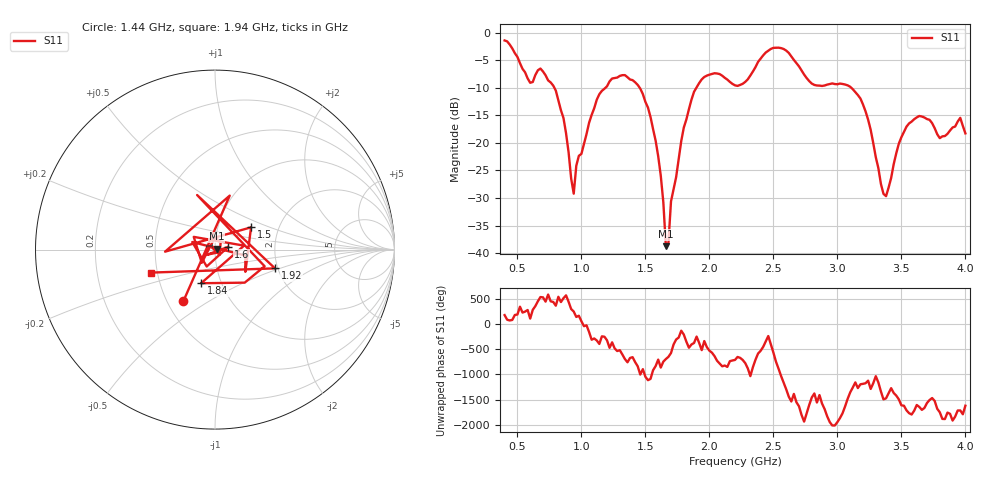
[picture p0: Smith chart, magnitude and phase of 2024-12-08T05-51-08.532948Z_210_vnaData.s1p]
!Created with skrf (http://scikit-rf.org).
# Hz S RI R 50.0
!freq ReS11 ImS11
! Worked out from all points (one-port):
!   181 points, 400 MHz to 4 GHz, reference 50 ohm
!   lowest |S11| = -38.8 dB at 1.66 GHz (marker M1), VSWR 1.02, Z = 51.1 + j0.459 ohm
!   |S11| at or under -10 dB: 789.3 MHz to 1.187 GHz (397.2 MHz wide, 40.2 % of centre); 1.456 GHz to 1.897 GHz (441.1 MHz wide, 26.3 % of centre); 3.11 GHz to end of sweep
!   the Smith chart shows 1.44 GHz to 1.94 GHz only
!   S11 on the Smith chart (normalised r, x): 1.44 GHz: 0.60, -0.39; 1.5 GHz: 1.44, +0.38; 1.6 GHz: 1.16, +0.04; 1.84 GHz: 0.80, -0.31; 1.92 GHz: 1.93, -0.46; 1.94 GHz: 0.46, -0.14
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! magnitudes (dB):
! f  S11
! 400 MHz  -1.4
! 600 MHz  -9.1
! 700 MHz  -7.0
! 860 MHz  -15.5
! 940 MHz  -29.2
! 960 MHz  -24.1
! 1.12 GHz  -12.1
! 1.3 GHz  -7.8
! 1.44 GHz  -9.5
! 1.5 GHz  -12.5
! 1.6 GHz  -22.4
! 1.64 GHz  -30.8
! 1.66 GHz  -38.8
! 1.76 GHz  -22.9
! 1.84 GHz  -13.9
! 1.92 GHz  -9.1
! 1.94 GHz  -8.4
! 2.2 GHz  -9.5
! 2.48 GHz  -2.9
! 2.66 GHz  -4.9
! 2.82 GHz  -9.5
! 3.1 GHz  -9.8
! 3.22 GHz  -14.3
! 3.38 GHz  -29.7
! 3.56 GHz  -16.4
! 3.8 GHz  -19.1
! 3.96 GHz  -15.4
! 4 GHz  -18.3
